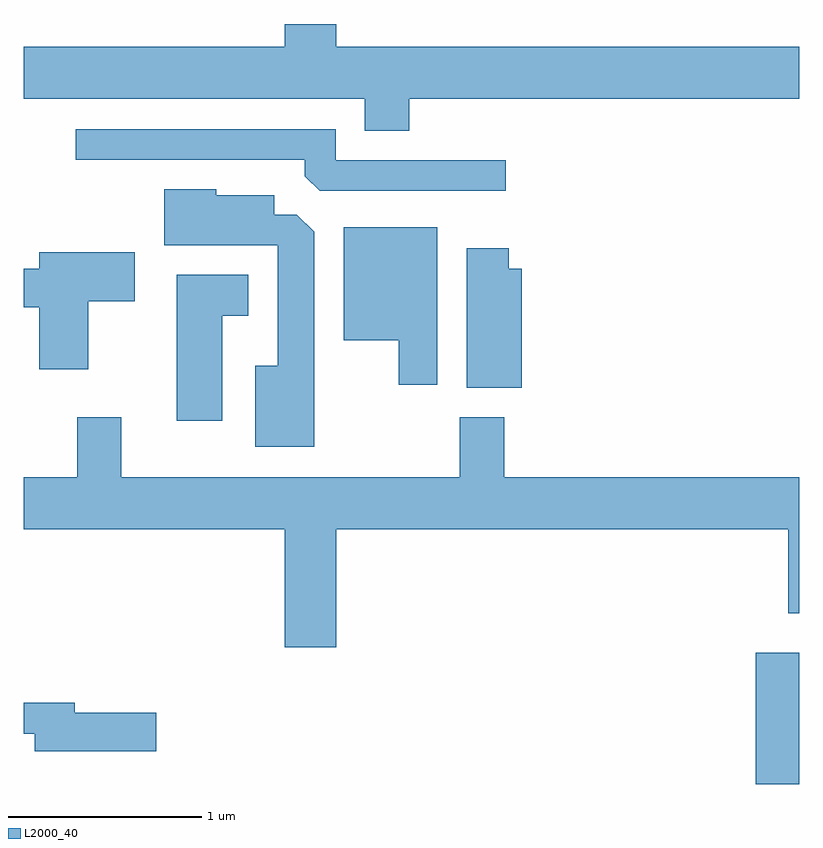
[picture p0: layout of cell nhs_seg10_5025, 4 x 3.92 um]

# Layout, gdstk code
import gdstk
lib = gdstk.Library(unit=1e-6, precision=1e-09)
def R(c, l, rs):  # rectangles x0, y0, x1, y1
    for r in rs: c.add(gdstk.rectangle(r[:2], r[2:], *l))
def P(c, l, *ps):  # polygons
    for p in ps: c.add(gdstk.Polygon(p, *l))
L2000_40 = (2000, 40)

nhs_seg10_5025 = lib.new_cell('nhs_seg10_5025')
R(nhs_seg10_5025, L2000_40, [(337.386,2112.601,337.611,2113.279)])
P(nhs_seg10_5025, L2000_40, [(335.599,2116.136),(337.611,2116.136),(337.611,2116.404),(335.224,2116.404),(335.224,2116.522),(334.956,2116.522),(334.956,2116.404),(333.611,2116.404),(333.611,2116.136),(335.371,2116.136),(335.371,2115.971),(335.599,2115.971)],
  [(336.098,2115.819),(335.219,2115.819),(335.219,2115.979),(333.878,2115.979),(333.878,2115.821),(335.061,2115.821),(335.061,2115.737),(335.137,2115.661),(336.098,2115.661)],
  [(335.109,2115.449),(335.019,2115.539),(334.904,2115.539),(334.904,2115.639),(334.604,2115.639),(334.604,2115.669),(334.336,2115.669),(334.336,2115.381),(334.921,2115.381),(334.921,2114.759),(334.806,2114.759),(334.806,2114.341),(335.109,2114.341)],
  [(335.744,2115.474),(335.261,2115.474),(335.261,2114.891),(335.546,2114.891),(335.546,2114.661),(335.744,2114.661)],
  [(336.179,2115.259),(336.114,2115.259),(336.114,2115.364),(335.896,2115.364),(335.896,2114.646),(336.179,2114.646)],
  [(333.944,2115.091),(334.184,2115.091),(334.184,2115.344),(333.691,2115.344),(333.691,2115.259),(333.611,2115.259),(333.611,2115.061),(333.691,2115.061),(333.691,2114.741),(333.944,2114.741)],
  [(334.634,2115.016),(334.769,2115.016),(334.769,2115.229),(334.401,2115.229),(334.401,2114.476),(334.634,2114.476)],
  [(335.224,2113.916),(337.556,2113.916),(337.556,2113.483),(337.611,2113.483),(337.611,2114.184),(336.089,2114.184),(336.089,2114.494),(335.861,2114.494),(335.861,2114.184),(334.114,2114.184),(334.114,2114.494),(333.886,2114.494),(333.886,2114.184),(333.611,2114.184),(333.611,2113.916),(334.956,2113.916),(334.956,2113.306),(335.224,2113.306)],
  [(334.294,2112.969),(333.874,2112.969),(333.874,2113.019),(333.611,2113.019),(333.611,2112.861),(333.666,2112.861),(333.666,2112.771),(334.294,2112.771)])

lib.write_gds('nhs_seg10_5025.gds')
